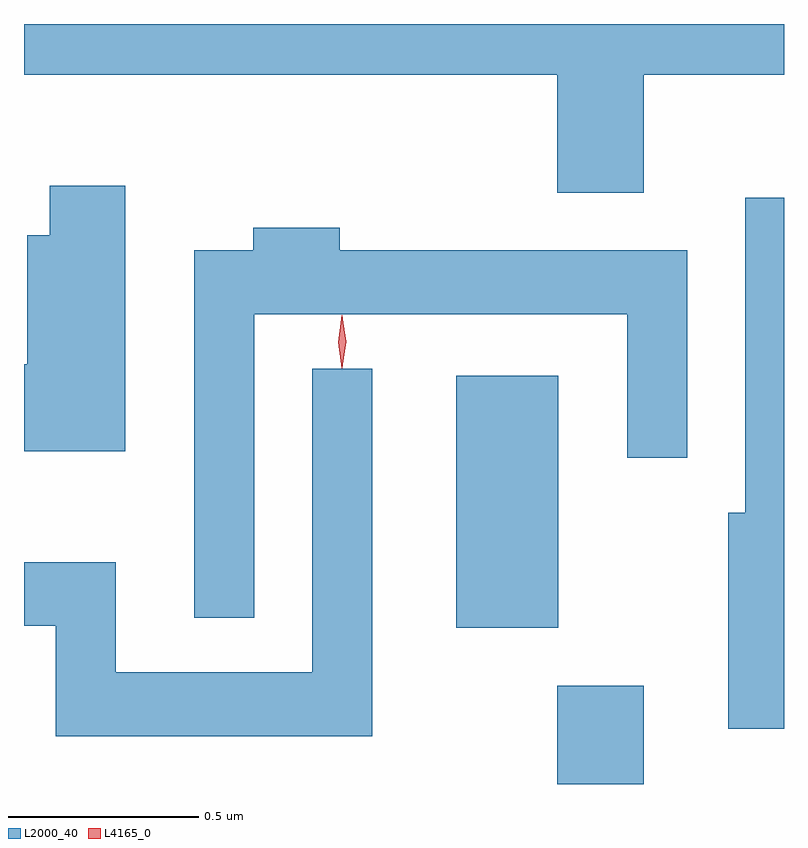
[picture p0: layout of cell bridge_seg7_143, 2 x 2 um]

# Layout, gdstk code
import gdstk
lib = gdstk.Library(unit=1e-6, precision=1e-09)
def R(c, l, rs):  # rectangles x0, y0, x1, y1
    for r in rs: c.add(gdstk.rectangle(r[:2], r[2:], *l))
def P(c, l, *ps):  # polygons
    for p in ps: c.add(gdstk.Polygon(p, *l))
L2000_40 = (2000, 40)
L4165_0 = (4165, 0)

bridge_seg7_143 = lib.new_cell('bridge_seg7_143')
R(bridge_seg7_143, L2000_40, [(1480.921,1714.67,1481.149,1714.929), (1480.656,1715.081,1480.924,1715.744)])
P(bridge_seg7_143, L2000_40, [(1481.149,1716.536),(1481.518,1716.536),(1481.518,1716.67),(1479.518,1716.67),(1479.518,1716.536),(1480.921,1716.536),(1480.921,1716.226),(1481.149,1716.226)],
  [(1479.784,1716.244),(1479.586,1716.244),(1479.586,1716.114),(1479.526,1716.114),(1479.526,1715.774),(1479.518,1715.774),(1479.518,1715.546),(1479.784,1715.546)],
  [(1481.518,1716.213),(1481.416,1716.213),(1481.416,1715.384),(1481.371,1715.384),(1481.371,1714.816),(1481.518,1714.816)],
  [(1480.124,1715.906),(1481.106,1715.906),(1481.106,1715.528),(1481.264,1715.528),(1481.264,1716.074),(1480.349,1716.074),(1480.349,1716.134),(1480.121,1716.134),(1480.121,1716.074),(1479.966,1716.074),(1479.966,1715.108),(1480.124,1715.108)],
  [(1480.434,1715.763),(1480.276,1715.763),(1480.276,1714.964),(1479.759,1714.964),(1479.759,1715.254),(1479.518,1715.254),(1479.518,1715.086),(1479.601,1715.086),(1479.601,1714.796),(1480.434,1714.796)])
P(bridge_seg7_143, L4165_0, [(1480.354,1715.764),(1480.345,1715.833),(1480.354,1715.903),(1480.355,1715.903),(1480.356,1715.903),(1480.365,1715.833),(1480.356,1715.764),(1480.355,1715.764)],
  [(1480.356,1715.767),(1480.356,1715.767),(1480.346,1715.834),(1480.356,1715.9),(1480.356,1715.901),(1480.356,1715.9),(1480.366,1715.834),(1480.356,1715.767)])

lib.write_gds('bridge_seg7_143.gds')
